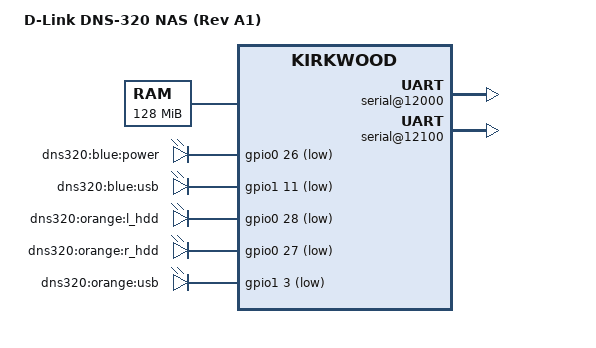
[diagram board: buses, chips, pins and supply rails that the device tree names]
/dts-v1/;

/include/ "kirkwood-dnskw.dtsi"

/ {
	model = "D-Link DNS-320 NAS (Rev A1)";
	compatible = "dlink,dns-320-a1", "dlink,dns-320", "dlink,dns-kirkwood", "marvell,kirkwood-88f6281", "marvell,kirkwood";

	memory {
		device_type = "memory";
		reg = <0x00000000 0x8000000>;
	};

	chosen {
		bootargs = "console=ttyS0,115200n8 earlyprintk";
	};

	gpio-leds {
		compatible = "gpio-leds";
		pinctrl-0 = <&pmx_led_power &pmx_led_red_usb_320
			     &pmx_led_red_left_hdd &pmx_led_red_right_hdd
			     &pmx_led_white_usb>;
		pinctrl-names = "default";

		blue-power {
			label = "dns320:blue:power";
			gpios = <&gpio0 26 1>; /* GPIO 26 Active Low */
			linux,default-trigger = "default-on";
		};
		blue-usb {
			label = "dns320:blue:usb";
			gpios = <&gpio1 11 1>; /* GPIO 43 Active Low */
		};
		orange-l_hdd {
			label = "dns320:orange:l_hdd";
			gpios = <&gpio0 28 1>; /* GPIO 28 Active Low */
		};
		orange-r_hdd {
			label = "dns320:orange:r_hdd";
			gpios = <&gpio0 27 1>; /* GPIO 27 Active Low */
		};
		orange-usb {
			label = "dns320:orange:usb";
			gpios = <&gpio1 3 1>; /* GPIO 35 Active Low */
		};
	};

	ocp@f1000000 {
		serial@12000 {
			status = "okay";
		};

		serial@12100 {
			pinctrl-0 = <&pmx_uart1>;
			pinctrl-names = "default";
			status = "okay";
		};
	};
};
